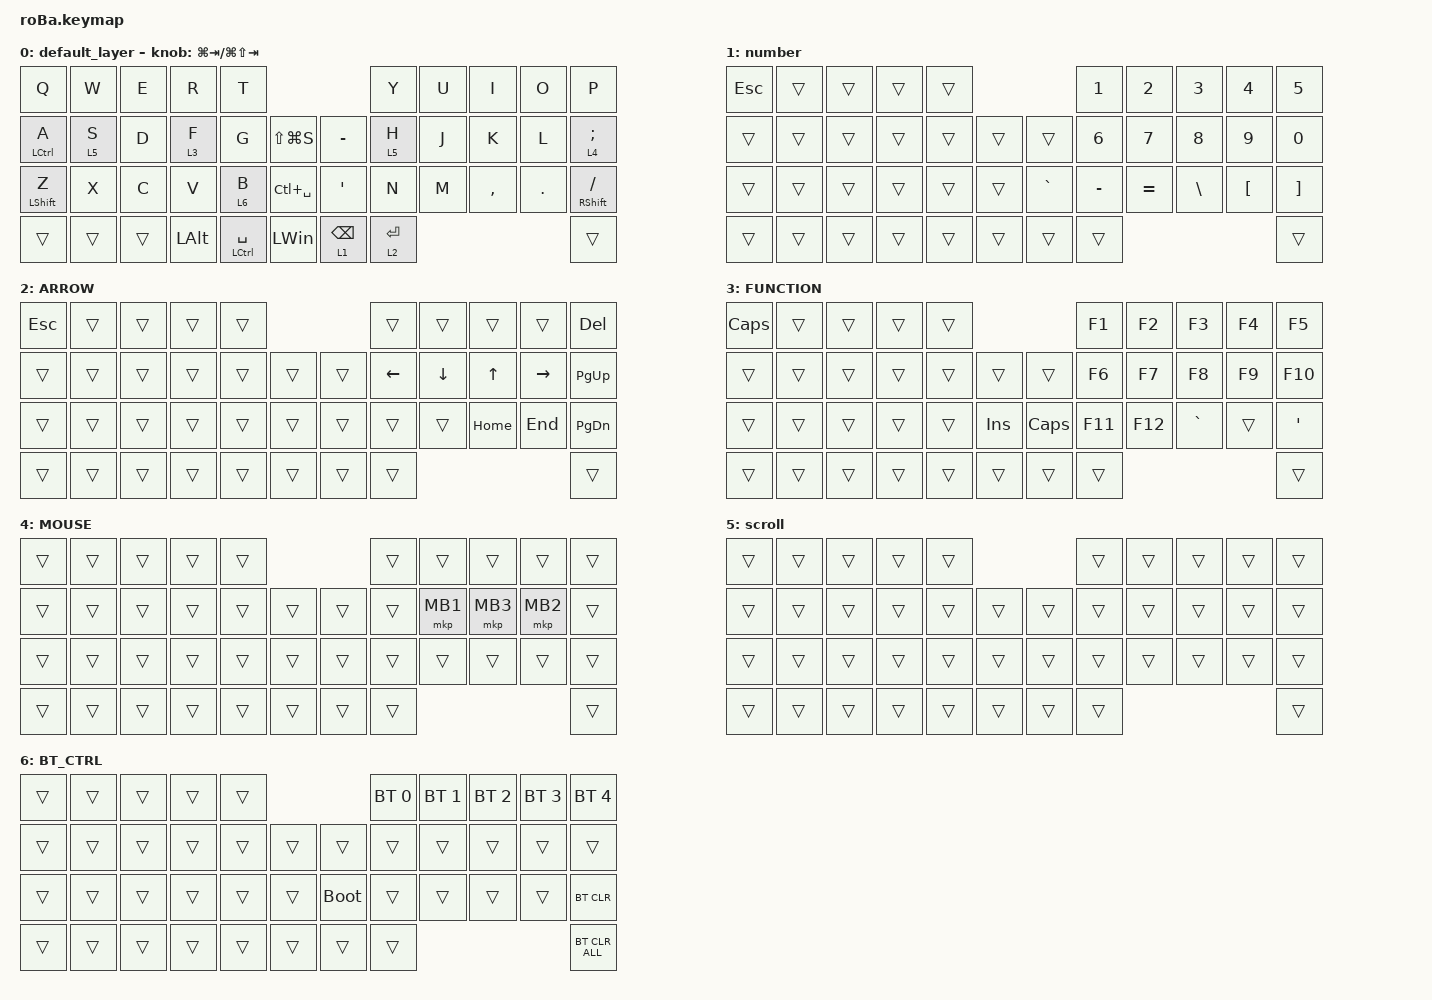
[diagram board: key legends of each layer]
#include <behaviors.dtsi>
#include <dt-bindings/zmk/bt.h>
#include <dt-bindings/zmk/keys.h>
#include <dt-bindings/zmk/pointing.h>

&mt {
    flavor = "balanced";
    quick-tap-ms = <0>;
};

&trackball {
    automouse-layer = <4>;
    scroll-layers = <5>;

    // arrows {
    //     layers = <3>;
    //     bindings =
    //         <&kp RIGHT_ARROW>,
    //         <&kp LEFT_ARROW>,
    //         <&kp UP_ARROW>,
    //         <&kp DOWN_ARROW>;

    //     tick = <10>;
    //     wait-ms = <5>;
    //     tap-ms = <5>;
    // };
};

/ {
    combos {
        compatible = "zmk,combos";

        tab {
            bindings = <&kp TAB>;
            key-positions = <11 12>;
        };

        shift_tab {
            bindings = <&kp LS(TAB)>;
            key-positions = <12 13>;
        };

        muhennkann {
            bindings = <&to_layer_0 INT_MUHENKAN>;
            key-positions = <11 10>;
        };

        double_quotation {
            bindings = <&kp DOUBLE_QUOTES>;
            key-positions = <20 21>;
        };

        eq {
            bindings = <&kp EQUAL>;
            key-positions = <24 25>;
        };
    };

    macros {
        to_layer_0: to_layer_0 {
            compatible = "zmk,behavior-macro-one-param";
            #binding-cells = <1>;
            bindings = <&to 0 &macro_param_1to1 &kp MACRO_PLACEHOLDER>;
            label = "TO_LAYER_0";
        };
    };

    behaviors {
        lt_to_layer_0: lt_to_layer_0 {
            compatible = "zmk,behavior-hold-tap";
            label = "LAYER_TAP_TO_0";
            bindings = <&mo>, <&to_layer_0>;

            #binding-cells = <2>;
            tapping-term-ms = <200>;
        };
    };

    keymap {
        compatible = "zmk,keymap";

        default_layer {
            bindings = <
&kp Q             &kp W    &kp E   &kp R         &kp T                                                &kp Y        &kp U  &kp I      &kp O    &kp P
&mt LCTRL A       &lt 5 S  &kp D   &lt 3 F       &kp G            &kp LS(LG(S))      &kp MINUS        &lt 5 H      &kp J  &kp K      &kp L    &lt 4 SEMICOLON
&mt LEFT_SHIFT Z  &kp X    &kp C   &kp V         &lt 6 B          &kp LC(SPACE)      &kp SQT          &kp N        &kp M  &kp COMMA  &kp DOT  &mt RIGHT_SHIFT SLASH
&trans            &trans   &trans  &kp LEFT_ALT  &mt LCTRL SPACE  &kp LEFT_WIN       &lt 1 BACKSPACE  &lt 2 ENTER                             &trans
            >;

            sensor-bindings = <&inc_dec_kp LG(TAB) LG(LS(TAB))>;
        };

        number {
            bindings = <
&kp ESCAPE  &trans  &trans  &trans  &trans                         &kp N1     &kp N2     &kp N3         &kp N4            &kp N5
&trans      &trans  &trans  &trans  &trans  &trans      &trans     &kp N6     &kp N7     &kp N8         &kp N9            &kp N0
&trans      &trans  &trans  &trans  &trans  &trans      &kp GRAVE  &kp MINUS  &kp EQUAL  &kp BACKSLASH  &kp LEFT_BRACKET  &kp RIGHT_BRACKET
&trans      &trans  &trans  &trans  &trans  &trans      &trans     &trans                                                 &trans
            >;
        };

        ARROW {
            bindings = <
&kp ESCAPE  &trans  &trans  &trans  &trans                      &trans    &trans    &trans        &trans     &kp DEL
&trans      &trans  &trans  &trans  &trans  &trans      &trans  &kp LEFT  &kp DOWN  &kp UP_ARROW  &kp RIGHT  &kp PAGE_UP
&trans      &trans  &trans  &trans  &trans  &trans      &trans  &trans    &trans    &kp HOME      &kp END    &kp PAGE_DOWN
&trans      &trans  &trans  &trans  &trans  &trans      &trans  &trans                                       &trans
            >;
        };

        FUNCTION {
            bindings = <
&kp CAPSLOCK  &trans  &trans  &trans  &trans                             &kp F1   &kp F2   &kp F3     &kp F4  &kp F5
&trans        &trans  &trans  &trans  &trans  &trans       &trans        &kp F6   &kp F7   &kp F8     &kp F9  &kp F10
&trans        &trans  &trans  &trans  &trans  &kp INS      &kp CAPSLOCK  &kp F11  &kp F12  &kp GRAVE  &trans  &kp SQT
&trans        &trans  &trans  &trans  &trans  &trans       &trans        &trans                               &trans
            >;
        };

        MOUSE {
            bindings = <
&trans  &trans  &trans  &trans  &trans                      &trans  &trans    &trans    &trans    &trans
&trans  &trans  &trans  &trans  &trans  &trans      &trans  &trans  &mkp MB1  &mkp MB3  &mkp MB2  &trans
&trans  &trans  &trans  &trans  &trans  &trans      &trans  &trans  &trans    &trans    &trans    &trans
&trans  &trans  &trans  &trans  &trans  &trans      &trans  &trans                                &trans
            >;
        };

        scroll {
            bindings = <
&trans  &trans  &trans  &trans  &trans                      &trans  &trans  &trans  &trans  &trans
&trans  &trans  &trans  &trans  &trans  &trans      &trans  &trans  &trans  &trans  &trans  &trans
&trans  &trans  &trans  &trans  &trans  &trans      &trans  &trans  &trans  &trans  &trans  &trans
&trans  &trans  &trans  &trans  &trans  &trans      &trans  &trans                          &trans
            >;
        };

        BT_CTRL {
            bindings = <
&trans  &trans  &trans  &trans  &trans                           &bt BT_SEL 0  &bt BT_SEL 1  &bt BT_SEL 2  &bt BT_SEL 3  &bt BT_SEL 4
&trans  &trans  &trans  &trans  &trans  &trans      &trans       &trans        &trans        &trans        &trans        &trans
&trans  &trans  &trans  &trans  &trans  &trans      &bootloader  &trans        &trans        &trans        &trans        &bt BT_CLR
&trans  &trans  &trans  &trans  &trans  &trans      &trans       &trans                                                  &bt BT_CLR_ALL
            >;
        };
    };
};
